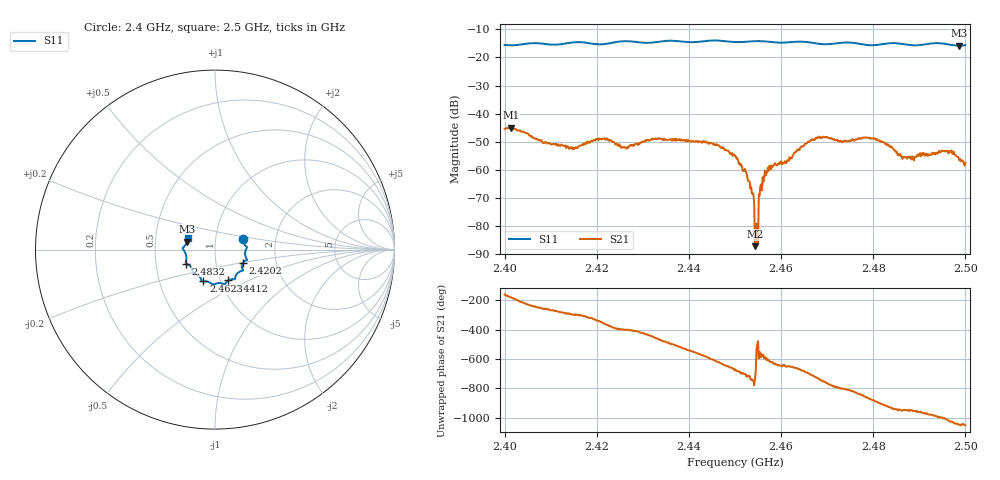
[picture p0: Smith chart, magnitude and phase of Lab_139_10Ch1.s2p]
# Hz S RI R 50
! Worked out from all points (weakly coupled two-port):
!   601 points, 2.4 GHz to 2.5 GHz, reference 50 ohm
!   highest |S21| = -45.00 dB at 2.4013 GHz (marker M1); lowest = -87.1 dB at 2.4543 GHz (marker M2)
!   lowest |S11| = -15.8 dB at 2.4987 GHz (marker M3), VSWR 1.39, Z = 36.4 + j3.35 ohm
!   |S11| at or under -10 dB: start of sweep to end of sweep
!   S12 and S22 are empty: the file has one direction only
!   S11 on the Smith chart (normalised r, x): 2.4 GHz: 1.36, +0.17; 2.4202 GHz: 1.35, -0.20; 2.4412 GHz: 1.09, -0.39; 2.4623 GHz: 0.83, -0.30; 2.4832 GHz: 0.72, -0.12; 2.5 GHz: 0.73, +0.10
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2.4e9  0.1563 0.0594  -0.00508 -0.00176  0 0  0 0
2.401333e9  0.1586 0.0434  -0.00562 -8.36e-05  0 0  0 0
2.416667e9  0.1775 -0.0582  0.00149 0.00231  0 0  0 0
2.420167e9  0.1556 -0.0723  0.0034 0.00124  0 0  0 0
2.426333e9  0.157 -0.116  0.00179 -0.00163  0 0  0 0
2.433333e9  0.1129 -0.1526  -0.000749 -0.00349  0 0  0 0
2.441167e9  0.0749 -0.1718  -0.0031 0.000704  0 0  0 0
2.45e9  0.026 -0.1863  0.00113 0.00134  0 0  0 0
2.452667e9  0.00178 -0.191  0.000738 0.000107  0 0  0 0
2.453667e9  -0.00425 -0.1938  0.000356 -0.000127  0 0  0 0
2.454333e9  -0.00735 -0.1949  4.21e-05 -1.29e-05  0 0  0 0
2.454833e9  -0.00928 -0.195  -6.08e-05 -5.49e-05  0 0  0 0
2.455667e9  -0.0125 -0.1944  -0.000361 0.000418  0 0  0 0
2.457e9  -0.0186 -0.1902  -0.000503 0.000796  0 0  0 0
2.462333e9  -0.0645 -0.1769  0.000659 0.00146  0 0  0 0
2.466667e9  -0.0765 -0.1665  0.00336 0.000621  0 0  0 0
2.483167e9  -0.1601 -0.0779  -0.00258 0.00118  0 0  0 0
2.483333e9  -0.1607 -0.0777  -0.00246 0.0013  0 0  0 0
2.486833e9  -0.1606 -0.0604  -0.00117 0.00125  0 0  0 0
2.4955e9  -0.1747 0.0132  0.000504 0.00214  0 0  0 0
2.498667e9  -0.1556 0.0448  0.00127 0.000767  0 0  0 0
2.5e9  -0.1532 0.0636  0.00119 0.000595  0 0  0 0
